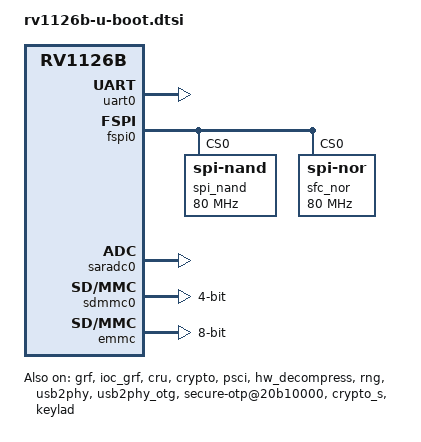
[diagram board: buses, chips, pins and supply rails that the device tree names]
/*
 * (C) Copyright 2025 Rockchip Electronics Co., Ltd
 *
 * SPDX-License-Identifier:     GPL-2.0+
 */

#include <dt-bindings/gpio/gpio.h>

/ {
	aliases {
		mmc0 = &emmc;
		mmc1 = &sdmmc0;
	};

	chosen {
		stdout-path = &uart0;
		u-boot,spl-boot-order = &sdmmc0, &spi_nand, &spi_nor, &emmc;
	};

	secure-otp@20b10000 {
		compatible = "rockchip,rv1126b-secure-otp";
		reg = <0x20b10000 0x10000>;
		secure_conf = <0x2022001c>;
		cru_rst_addr = <0x20200a00>;
		mask_addr = <0x20ba0000>;
		key_reader_addr = <0x20b20000>;
		u-boot,dm-spl;
		status = "okay";
	};

	crypto_s: crypto_s@20900000 {
		compatible = "rockchip,crypto-ce";
		reg = <0x20900000 0x2000>;
		secure;
		interrupts = <GIC_SPI 169 IRQ_TYPE_LEVEL_HIGH>;
		clocks = <&cru ACLK_RKCE_S>, <&cru HCLK_RKCE_S>,
			 <&cru CLK_PKA_RKCE_S>;
		clock-names = "aclk", "hclk", "pka";
		resets = <&cru SRST_PRESETN_RKCE>;
		reset-names = "crypto-rst";
		status = "disabled";
	};

	keylad: keylad@20920000 {
		compatible = "rockchip,keylad";
		reg = <0x20920000 0x2000>;
		clocks = <&cru HCLK_KL_RKCE_S>, <&cru ACLK_RKCE_S>;
		clock-names = "hclk", "aclk";
		status = "disabled";
	};
};

&gpio0 {
	u-boot,dm-spl;
	status = "okay";
};

&gpio1 {
	u-boot,dm-pre-reloc;
	status = "okay";
};

&gpio2 {
	u-boot,dm-spl;
	status = "okay";
};

&gpio3 {
	u-boot,dm-pre-reloc;
	status = "okay";
};

&gpio4 {
	u-boot,dm-pre-reloc;
	status = "okay";
};

&grf {
	u-boot,dm-spl;
	status = "okay";
};

&ioc_grf {
	u-boot,dm-spl;
	status = "okay";
};

&cru {
	u-boot,dm-spl;
	status = "okay";
};

&crypto {
	u-boot,dm-spl;
	status = "okay";
};

&crypto_s {
	u-boot,dm-spl;
	status = "okay";
};

&keylad {
	u-boot,dm-spl;
	status = "okay";
};

&psci {
	u-boot,dm-pre-reloc;
	status = "okay";
};

&uart0 {
	u-boot,dm-spl;
	status = "okay";
};

&hw_decompress {
	u-boot,dm-spl;
	status = "okay";
};

&rng {
	u-boot,dm-pre-reloc;
	status = "okay";
};

&fspi0 {
	u-boot,dm-spl;
	status = "okay";

	#address-cells = <1>;
	#size-cells = <0>;
	spi_nand: flash@0 {
		u-boot,dm-spl;
		compatible = "spi-nand";
		reg = <0>;
		spi-tx-bus-width = <1>;
		spi-rx-bus-width = <4>;
		spi-max-frequency = <80000000>;
	};

	spi_nor: flash@1 {
		u-boot,dm-spl;
		compatible = "jedec,spi-nor";
		label = "sfc_nor";
		reg = <0>;
		spi-tx-bus-width = <1>;
		spi-rx-bus-width = <4>;
		spi-max-frequency = <80000000>;
	};
};

&saradc0 {
	u-boot,dm-pre-reloc;
	status = "okay";
};

&sdmmc0 {
	bus-width = <4>;
	pinctrl-names = "default";
	pinctrl-0 = <&sdmmc0_bus4_pins &sdmmc0_cmd_pins &sdmmc0_clk_pins &sdmmc0_detn_pins>;
	u-boot,dm-spl;
	status = "okay";
};

&emmc {
	mmc-ecsd = <0x47fffe00>;
	mmc-idmac = <0x48000000>;
	bus-width = <8>;
	mmc-hs200-1_8v;
	u-boot,dm-spl;
	status = "okay";
};

&sdmmc0_pins {
	u-boot,dm-spl;
};

&sdmmc0_bus4_pins {
	u-boot,dm-spl;
};

&sdmmc0_cmd_pins {
	u-boot,dm-spl;
};

&sdmmc0_clk_pins {
	u-boot,dm-spl;
};

&sdmmc0_detn_pins {
	u-boot,dm-spl;
};

&pinctrl {
	u-boot,dm-spl;
	status = "okay";
};

&pcfg_pull_up {
	u-boot,dm-spl;
};

&pcfg_pull_none {
	u-boot,dm-spl;
};

&usb2phy {
	u-boot,dm-pre-reloc;
	status = "okay";
};

&usb2phy_otg {
	u-boot,dm-pre-reloc;
	status = "okay";
};
